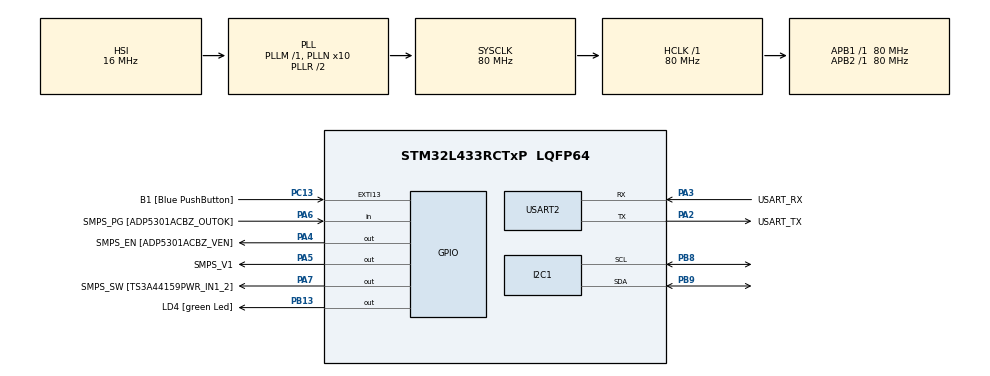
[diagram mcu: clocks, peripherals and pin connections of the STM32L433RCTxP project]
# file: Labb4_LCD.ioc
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I2C1.Timing=0x10D19CE4
Mcu.Family=STM32L4
Mcu.Name=STM32L433RCTxP
Mcu.Package=LQFP64
NVIC.PriorityGroup=NVIC_PRIORITYGROUP_4
NVIC.TIM2_IRQn=true\:0\:0\:false\:false\:true\:true\:true\:true
PA13\ (JTMS-SWDIO).GPIO_Label=TMS
PA13\ (JTMS-SWDIO).Mode=Serial_Wire
PA13\ (JTMS-SWDIO).Signal=SYS_JTMS-SWDIO
PA14\ (JTCK-SWCLK).GPIO_Label=TCK
PA14\ (JTCK-SWCLK).Mode=Serial_Wire
PA14\ (JTCK-SWCLK).Signal=SYS_JTCK-SWCLK
PA2.GPIO_Label=USART_TX
PA2.GPIO_Mode=GPIO_MODE_AF_PP
PA2.GPIO_PuPd=GPIO_NOPULL
PA2.GPIO_Speed=GPIO_SPEED_FREQ_VERY_HIGH
PA2.Mode=Asynchronous
PA2.Signal=USART2_TX
PA3.GPIO_Label=USART_RX
PA3.GPIO_Mode=GPIO_MODE_AF_PP
PA3.GPIO_PuPd=GPIO_NOPULL
PA3.GPIO_Speed=GPIO_SPEED_FREQ_VERY_HIGH
PA3.Mode=Asynchronous
PA3.Signal=USART2_RX
PA4.GPIO_Label=SMPS_EN [ADP5301ACBZ_VEN]
PA4.Signal=GPIO_Output
PA5.GPIO_Label=SMPS_V1
PA5.GPIO_ModeDefaultOutputPP=GPIO_MODE_OUTPUT_PP
PA5.GPIO_PuPd=GPIO_NOPULL
PA5.GPIO_Speed=GPIO_SPEED_FREQ_LOW
PA5.Signal=GPIO_Output
PA6.GPIO_Label=SMPS_PG [ADP5301ACBZ_OUTOK]
PA6.GPIO_PuPd=GPIO_PULLUP
PA6.Signal=GPIO_Input
PA7.GPIO_Label=SMPS_SW [TS3A44159PWR_IN1_2]
PA7.Signal=GPIO_Output
PB13.GPIO_Label=LD4 [green Led]
PB13.Signal=GPIO_Output
PB3\ (JTDO-TRACESWO).GPIO_Label=SWO
PB3\ (JTDO-TRACESWO).Signal=SYS_JTDO-SWO
PB8.Mode=I2C
PB8.Signal=I2C1_SCL
PB9.Mode=I2C
PB9.Signal=I2C1_SDA
PC13.GPIO_Label=B1 [Blue PushButton]
PC13.GPIO_ModeDefaultEXTI=GPIO_MODE_IT_FALLING
PC13.GPIO_PuPd=GPIO_NOPULL
PC13.Signal=GPXTI13
PC14-OSC32_IN\ (PC14).Mode=LSE-External-Oscillator
PC14-OSC32_IN\ (PC14).Signal=RCC_OSC32_IN
PC15-OSC32_OUT\ (PC15).Mode=LSE-External-Oscillator
PC15-OSC32_OUT\ (PC15).Signal=RCC_OSC32_OUT
PH0-OSC_IN\ (PH0).GPIO_Label=MCO
PH0-OSC_IN\ (PH0).Mode=HSE-External-Clock-Source
PH0-OSC_IN\ (PH0).Signal=RCC_OSC_IN
PH1-OSC_OUT\ (PH1).Signal=RCC_OSC_OUT
ProjectManager.HeapSize=0x200
ProjectManager.StackSize=0x400
ProjectManager.TargetToolchain=STM32CubeIDE
RCC.ADCFreq_Value=64000000
RCC.AHBFreq_Value=80000000
RCC.APB1Freq_Value=80000000
RCC.APB1TimFreq_Value=80000000
RCC.APB2Freq_Value=80000000
RCC.APB2TimFreq_Value=80000000
RCC.CortexFreq_Value=80000000
RCC.HCLKFreq_Value=80000000
RCC.HSE_VALUE=8000000
RCC.HSI48_VALUE=48000000
RCC.HSI_VALUE=16000000
RCC.MSI_VALUE=4000000
RCC.PLLN=10
RCC.PLLSourceVirtual=RCC_PLLSOURCE_HSI
RCC.PREFETCH_ENABLE=1
RCC.SYSCLKFreq_VALUE=80000000
RCC.SYSCLKSource=RCC_SYSCLKSOURCE_PLLCLK
RCC.USBFreq_Value=64000000
RCC.VCOOutputFreq_Value=160000000
TIM2.Period=7999
TIM2.Prescaler=9999
TIM6.Period=37
TIM6.Prescaler=79
USART2.VirtualMode-Asynchronous=VM_ASYNC
VP_TIM2_VS_ClockSourceINT.Mode=Internal
VP_TIM6_VS_ClockSourceINT.Mode=Enable_Timer
board=NUCLEO-L433RC-P

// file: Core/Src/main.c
/* USER CODE BEGIN Header */
/**
 ******************************************************************************
 * @file           : main.c
 * @brief          : Main program body
 ******************************************************************************
 * @attention
 *
 * Copyright (c) 2025 STMicroelectronics.
 * All rights reserved.
 *
 * This software is licensed under terms that can be found in the LICENSE file
 * in the root directory of this software component.
 * If no LICENSE file comes with this software, it is provided AS-IS.
 *
 ******************************************************************************
 */
/* USER CODE END Header */
#include "main.h"

/* USER CODE BEGIN Includes */
#include "lcd.h"
#include <stdio.h>

/* USER CODE END Includes */

I2C_HandleTypeDef hi2c1;

TIM_HandleTypeDef htim2;
TIM_HandleTypeDef htim6;

UART_HandleTypeDef huart2;

/* USER CODE BEGIN PV */
uint8_t interFlag;
/* USER CODE END PV */

void SystemClock_Config(void);
static void MX_GPIO_Init(void);
static void MX_USART2_UART_Init(void);
static void MX_TIM2_Init(void);
static void MX_I2C1_Init(void);
static void MX_TIM6_Init(void);
/* USER CODE BEGIN PFP */
struct clock_data{
	uint8_t hrs;
	uint8_t min;
	uint8_t sec;
};
void cd_set(struct clock_data *pcd,uint8_t hrs, uint8_t min, uint8_t sec){
	pcd->hrs = hrs;
	pcd->min = min;
	pcd->sec = sec;
}
struct clock_data my_clock;
void cd_tick(struct clock_data *pcd){
	pcd->sec++;
	if(pcd->sec>=60){
		pcd->sec = 0;
		pcd->min++;
	}
	if(pcd->min>=60){
		pcd->min = 0;
		pcd->hrs++;
	}
	if(pcd->hrs>=24){
		pcd->hrs = 0;
		pcd->min = 0;
		pcd->sec = 0;
	}

}
void HAL_TIM_PeriodElapsedCallback( TIM_HandleTypeDef *htim ){
	if(htim->Instance == TIM2){
		interFlag++;
	}
}

void wait_for_button_press(){
	while(!GPIOC->IDR){

	}

}
/* USER CODE END PFP */

int main(void)
{

	/* MCU Configuration--------------------------------------------------------*/

	/* Reset of all peripherals, Initializes the Flash interface and the Systick. */
	HAL_Init();

	/* Configure the system clock */
	SystemClock_Config();

	/* Initialize all configured peripherals */
	MX_GPIO_Init();
	MX_USART2_UART_Init();
	MX_TIM2_Init();
	MX_I2C1_Init();
	MX_TIM6_Init();
	/* USER CODE BEGIN 2 */
	HAL_TIM_Base_Start_IT(&htim2);
	wait_for_button_press();
	cd_set(&my_clock,0,0,0);
	TextLCDType lcd;
	TextLCD_Init(&lcd,&hi2c1,0x4E);
	char timeStr[9];
	/* USER CODE END 2 */

	/* Infinite loop */
	while (1)
	{

		/* USER CODE BEGIN 3 */
		if(interFlag>0){
			cd_tick(&my_clock);
			sprintf(timeStr, "%02d:%02d:%02d", my_clock.hrs,my_clock.min,my_clock.sec);
			TextLCD_Position(&lcd,0,1);
			TextLCD_PutStr(&lcd, "Tid:");
			TextLCD_Position(&lcd,8,1);
			TextLCD_PutStr(&lcd,timeStr);
			interFlag--;
		}
	}
	/* USER CODE END 3 */
}

void SystemClock_Config(void)
{
	RCC_OscInitTypeDef RCC_OscInitStruct = {0};
	RCC_ClkInitTypeDef RCC_ClkInitStruct = {0};

	/** Configure the main internal regulator output voltage
	 */
	if (HAL_PWREx_ControlVoltageScaling(PWR_REGULATOR_VOLTAGE_SCALE1) != HAL_OK)
	{
		Error_Handler();
	}

	/** Initializes the RCC Oscillators according to the specified parameters
	 * in the RCC_OscInitTypeDef structure.
	 */
	RCC_OscInitStruct.OscillatorType = RCC_OSCILLATORTYPE_HSI;
	RCC_OscInitStruct.HSIState = RCC_HSI_ON;
	RCC_OscInitStruct.HSICalibrationValue = RCC_HSICALIBRATION_DEFAULT;
	RCC_OscInitStruct.PLL.PLLState = RCC_PLL_ON;
	RCC_OscInitStruct.PLL.PLLSource = RCC_PLLSOURCE_HSI;
	RCC_OscInitStruct.PLL.PLLM = 1;
	RCC_OscInitStruct.PLL.PLLN = 10;
	RCC_OscInitStruct.PLL.PLLP = RCC_PLLP_DIV7;
	RCC_OscInitStruct.PLL.PLLQ = RCC_PLLQ_DIV2;
	RCC_OscInitStruct.PLL.PLLR = RCC_PLLR_DIV2;
	if (HAL_RCC_OscConfig(&RCC_OscInitStruct) != HAL_OK)
	{
		Error_Handler();
	}

	/** Initializes the CPU, AHB and APB buses clocks
	 */
	RCC_ClkInitStruct.ClockType = RCC_CLOCKTYPE_HCLK|RCC_CLOCKTYPE_SYSCLK
			|RCC_CLOCKTYPE_PCLK1|RCC_CLOCKTYPE_PCLK2;
	RCC_ClkInitStruct.SYSCLKSource = RCC_SYSCLKSOURCE_PLLCLK;
	RCC_ClkInitStruct.AHBCLKDivider = RCC_SYSCLK_DIV1;
	RCC_ClkInitStruct.APB1CLKDivider = RCC_HCLK_DIV1;
	RCC_ClkInitStruct.APB2CLKDivider = RCC_HCLK_DIV1;

	if (HAL_RCC_ClockConfig(&RCC_ClkInitStruct, FLASH_LATENCY_4) != HAL_OK)
	{
		Error_Handler();
	}
}

static void MX_I2C1_Init(void)
{

	hi2c1.Instance = I2C1;
	hi2c1.Init.Timing = 0x10D19CE4;
	hi2c1.Init.OwnAddress1 = 0;
	hi2c1.Init.AddressingMode = I2C_ADDRESSINGMODE_7BIT;
	hi2c1.Init.DualAddressMode = I2C_DUALADDRESS_DISABLE;
	hi2c1.Init.OwnAddress2 = 0;
	hi2c1.Init.OwnAddress2Masks = I2C_OA2_NOMASK;
	hi2c1.Init.GeneralCallMode = I2C_GENERALCALL_DISABLE;
	hi2c1.Init.NoStretchMode = I2C_NOSTRETCH_DISABLE;
	if (HAL_I2C_Init(&hi2c1) != HAL_OK)
	{
		Error_Handler();
	}

	/** Configure Analogue filter
	 */
	if (HAL_I2CEx_ConfigAnalogFilter(&hi2c1, I2C_ANALOGFILTER_ENABLE) != HAL_OK)
	{
		Error_Handler();
	}

	/** Configure Digital filter
	 */
	if (HAL_I2CEx_ConfigDigitalFilter(&hi2c1, 0) != HAL_OK)
	{
		Error_Handler();
	}

}

static void MX_TIM2_Init(void)
{

	TIM_ClockConfigTypeDef sClockSourceConfig = {0};
	TIM_MasterConfigTypeDef sMasterConfig = {0};

	htim2.Instance = TIM2;
	htim2.Init.Prescaler = 9999;
	htim2.Init.CounterMode = TIM_COUNTERMODE_UP;
	htim2.Init.Period = 7999;
	htim2.Init.ClockDivision = TIM_CLOCKDIVISION_DIV1;
	htim2.Init.AutoReloadPreload = TIM_AUTORELOAD_PRELOAD_DISABLE;
	if (HAL_TIM_Base_Init(&htim2) != HAL_OK)
	{
		Error_Handler();
	}
	sClockSourceConfig.ClockSource = TIM_CLOCKSOURCE_INTERNAL;
	if (HAL_TIM_ConfigClockSource(&htim2, &sClockSourceConfig) != HAL_OK)
	{
		Error_Handler();
	}
	sMasterConfig.MasterOutputTrigger = TIM_TRGO_RESET;
	sMasterConfig.MasterSlaveMode = TIM_MASTERSLAVEMODE_DISABLE;
	if (HAL_TIMEx_MasterConfigSynchronization(&htim2, &sMasterConfig) != HAL_OK)
	{
		Error_Handler();
	}

}

static void MX_TIM6_Init(void)
{

	TIM_MasterConfigTypeDef sMasterConfig = {0};

	htim6.Instance = TIM6;
	htim6.Init.Prescaler = 79;
	htim6.Init.CounterMode = TIM_COUNTERMODE_UP;
	htim6.Init.Period = 37;
	htim6.Init.AutoReloadPreload = TIM_AUTORELOAD_PRELOAD_DISABLE;
	if (HAL_TIM_Base_Init(&htim6) != HAL_OK)
	{
		Error_Handler();
	}
	sMasterConfig.MasterOutputTrigger = TIM_TRGO_RESET;
	sMasterConfig.MasterSlaveMode = TIM_MASTERSLAVEMODE_DISABLE;
	if (HAL_TIMEx_MasterConfigSynchronization(&htim6, &sMasterConfig) != HAL_OK)
	{
		Error_Handler();
	}

}

static void MX_USART2_UART_Init(void)
{

	huart2.Instance = USART2;
	huart2.Init.BaudRate = 115200;
	huart2.Init.WordLength = UART_WORDLENGTH_8B;
	huart2.Init.StopBits = UART_STOPBITS_1;
	huart2.Init.Parity = UART_PARITY_NONE;
	huart2.Init.Mode = UART_MODE_TX_RX;
	huart2.Init.HwFlowCtl = UART_HWCONTROL_NONE;
	huart2.Init.OverSampling = UART_OVERSAMPLING_16;
	huart2.Init.OneBitSampling = UART_ONE_BIT_SAMPLE_DISABLE;
	huart2.AdvancedInit.AdvFeatureInit = UART_ADVFEATURE_NO_INIT;
	if (HAL_UART_Init(&huart2) != HAL_OK)
	{
		Error_Handler();
	}

}

static void MX_GPIO_Init(void)
{
	GPIO_InitTypeDef GPIO_InitStruct = {0};

	/* GPIO Ports Clock Enable */
	__HAL_RCC_GPIOC_CLK_ENABLE();
	__HAL_RCC_GPIOH_CLK_ENABLE();
	__HAL_RCC_GPIOA_CLK_ENABLE();
	__HAL_RCC_GPIOB_CLK_ENABLE();

	/*Configure GPIO pin Output Level */
	HAL_GPIO_WritePin(GPIOA, SMPS_EN_Pin|SMPS_V1_Pin|SMPS_SW_Pin, GPIO_PIN_RESET);

	/*Configure GPIO pin Output Level */
	HAL_GPIO_WritePin(LD4_GPIO_Port, LD4_Pin, GPIO_PIN_RESET);

	/*Configure GPIO pin : B1_Pin */
	GPIO_InitStruct.Pin = B1_Pin;
	GPIO_InitStruct.Mode = GPIO_MODE_IT_FALLING;
	GPIO_InitStruct.Pull = GPIO_NOPULL;
	HAL_GPIO_Init(B1_GPIO_Port, &GPIO_InitStruct);

	/*Configure GPIO pins : SMPS_EN_Pin SMPS_V1_Pin SMPS_SW_Pin */
	GPIO_InitStruct.Pin = SMPS_EN_Pin|SMPS_V1_Pin|SMPS_SW_Pin;
	GPIO_InitStruct.Mode = GPIO_MODE_OUTPUT_PP;
	GPIO_InitStruct.Pull = GPIO_NOPULL;
	GPIO_InitStruct.Speed = GPIO_SPEED_FREQ_LOW;
	HAL_GPIO_Init(GPIOA, &GPIO_InitStruct);

	/*Configure GPIO pin : SMPS_PG_Pin */
	GPIO_InitStruct.Pin = SMPS_PG_Pin;
	GPIO_InitStruct.Mode = GPIO_MODE_INPUT;
	GPIO_InitStruct.Pull = GPIO_PULLUP;
	HAL_GPIO_Init(SMPS_PG_GPIO_Port, &GPIO_InitStruct);

	/*Configure GPIO pin : LD4_Pin */
	GPIO_InitStruct.Pin = LD4_Pin;
	GPIO_InitStruct.Mode = GPIO_MODE_OUTPUT_PP;
	GPIO_InitStruct.Pull = GPIO_NOPULL;
	GPIO_InitStruct.Speed = GPIO_SPEED_FREQ_LOW;
	HAL_GPIO_Init(LD4_GPIO_Port, &GPIO_InitStruct);

}

void Error_Handler(void)
{
	__disable_irq();
	while (1)
	{
	}
}
